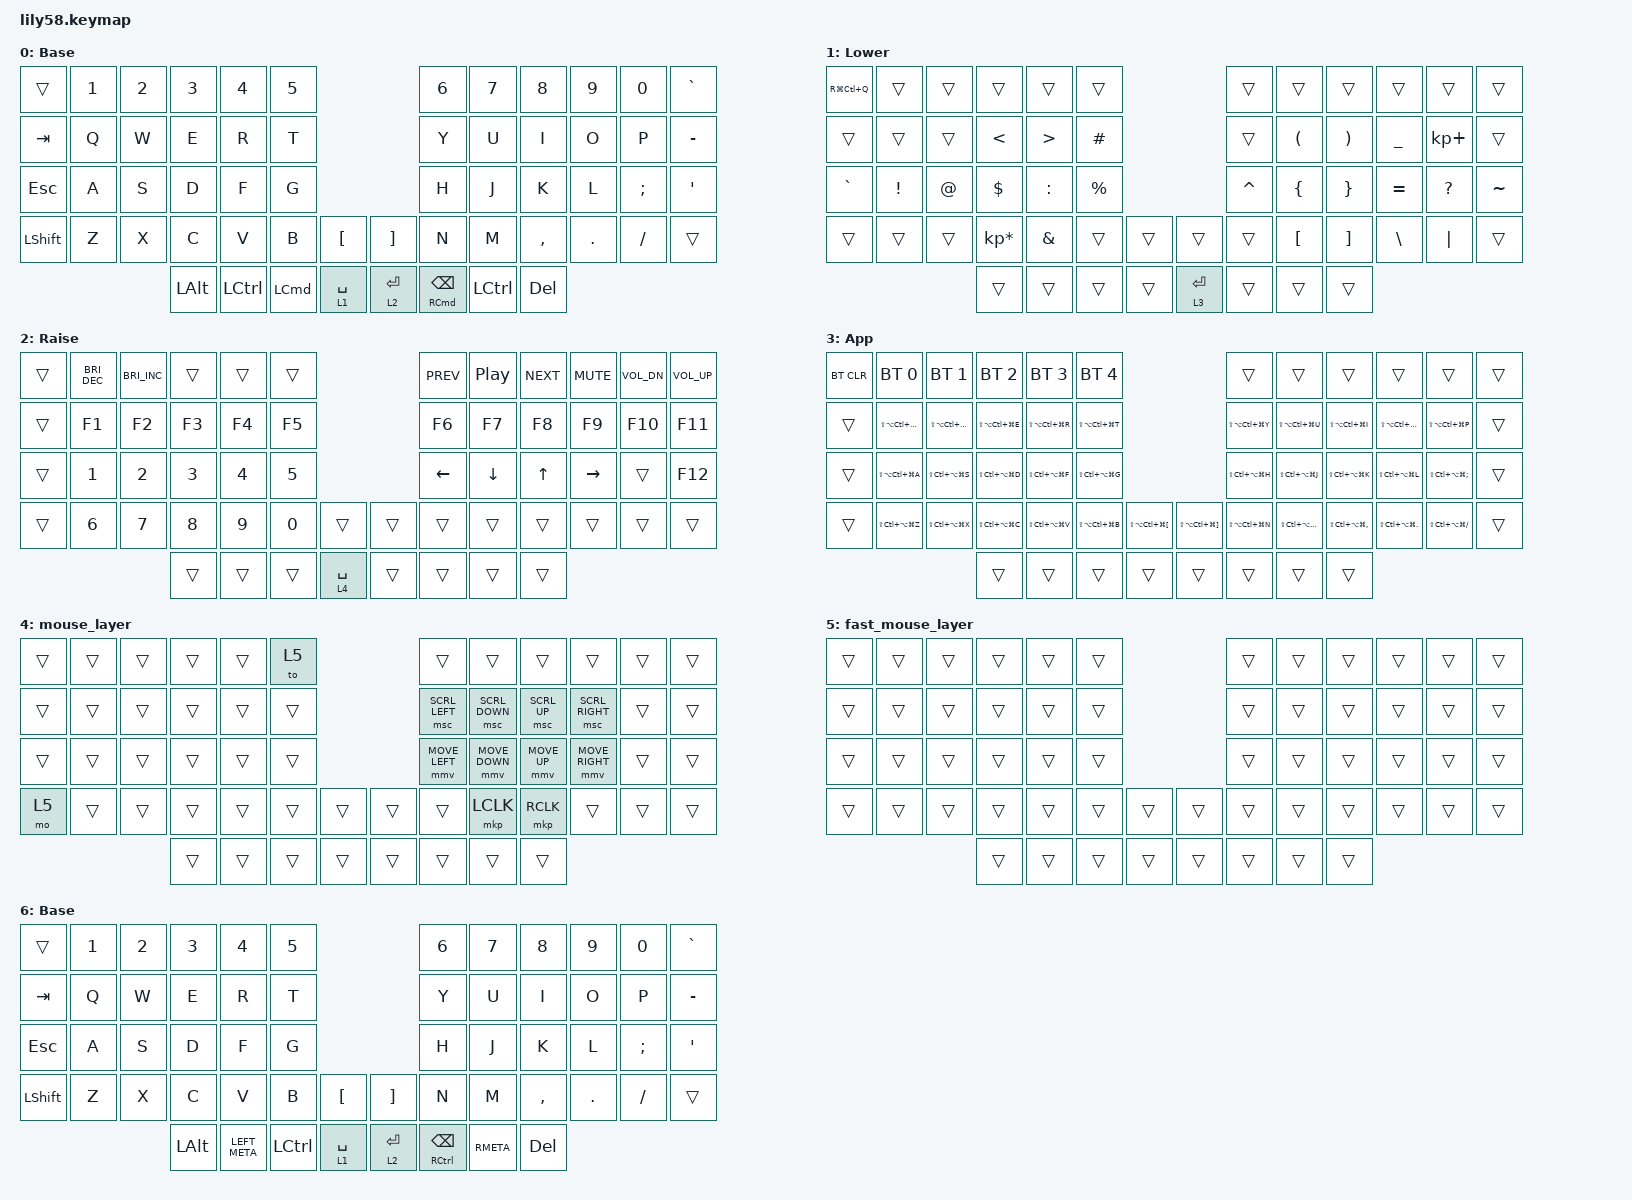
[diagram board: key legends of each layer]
/*
 * Copyright (c) 2020 The ZMK Contributors
 *
 * SPDX-License-Identifier: MIT
 */

#define ZMK_POINTING_DEFAULT_MOVE_VAL 900

#include <behaviors.dtsi>
#include <dt-bindings/zmk/bt.h>
#include <dt-bindings/zmk/keys.h>
#include <dt-bindings/zmk/pointing.h>
#include <input/processors.dtsi>

/ {
    behaviors {
        HMShiftR: HMShiftR {
            compatible = "zmk,behavior-hold-tap";
            label = "HMSHIFTR";
            bindings = <&kp>, <&kp>;

            #binding-cells = <2>;
            tapping-term-ms = <200>;
            hold-while-undecided;
            hold-trigger-key-positions = <53 52 51 50 36 0 1 12 13 14 15 16 17 24 25 26 27 28 29 38 39 40 41 42 2 3 4 5 37>;
            hold-trigger-on-release;
        };

        HMShiftL: HMShiftL {
            compatible = "zmk,behavior-hold-tap";
            label = "HMSHIFTL";
            bindings = <&kp>, <&kp>;

            #binding-cells = <2>;
            tapping-term-ms = <200>;
            hold-while-undecided;
            hold-trigger-on-release;
            hold-trigger-key-positions = <6 7 8 9 10 11 18 19 20 21 22 23 30 31 32 33 34 35 44 45 46 47 48 49 55 56 57 43 54>;
        };

        HMR: HMR {
            compatible = "zmk,behavior-hold-tap";
            label = "HMR";
            bindings = <&kp>, <&kp>;

            #binding-cells = <2>;
            tapping-term-ms = <200>;
            hold-while-undecided;
            hold-trigger-key-positions = <53 52 51 50 36 0 1 12 13 14 15 16 17 24 25 26 27 28 29 38 39 40 41 42 2 3 4 5 37>;
            hold-trigger-on-release;
            flavor = "tap-preferred";
        };

        HML: HML {
            compatible = "zmk,behavior-hold-tap";
            label = "HML";
            bindings = <&kp>, <&kp>;

            #binding-cells = <2>;
            tapping-term-ms = <200>;
            hold-while-undecided;
            hold-trigger-on-release;
            hold-trigger-key-positions = <6 7 8 9 10 11 18 19 20 21 22 23 30 31 32 33 34 35 44 45 46 47 48 49 55 56 57 43 54>;
            flavor = "tap-preferred";
        };

        hold_tap_double: hold_tap_double {
            compatible = "zmk,behavior-hold-tap";
            label = "HOLD_TAP_DOUBLE";
            bindings = <&kp>, <&kp>;

            #binding-cells = <2>;
            tapping-term-ms = <200>;
            quick-tap-ms = <200>;
        };
    };

    keymap {
        compatible = "zmk,keymap";

        default_layer {
            // ------------------------------------------------------------------------------------------------------------
            // |  ESC  |  1  |  2  |  3   |  4   |  5   |                   |  6   |  7    |  8    |  9   |   0   |   `   |
            // |  TAB  |  Q  |  W  |  E   |  R   |  T   |                   |  Y   |  U    |  I    |  O   |   P   |   -   |
            // |  CTRL |  A  |  S  |  D   |  F   |  G   |                   |  H   |  J    |  K    |  L   |   ;   |   '   |
            // | SHIFT |  Z  |  X  |  C   |  V   |  B   |   "["  |  |  "]"  |  N   |  M    |  ,    |  .   |   /   | SHIFT |
            //                     | ALT  | GUI  | LOWER|  SPACE |  | ENTER | RAISE| BSPC  | GUI   |

            display-name = "Base";
            bindings = <
&trans     &kp N1  &kp N2  &kp N3    &kp N4     &kp N5                                &kp N6                           &kp N7     &kp N8     &kp N9   &kp N0    &kp GRAVE
&kp TAB    &kp Q   &kp W   &kp E     &kp R      &kp T                                 &kp Y                            &kp U      &kp I      &kp O    &kp P     &kp MINUS
&kp ESC    &kp A   &kp S   &kp D     &kp F      &kp G                                 &kp H                            &kp J      &kp K      &kp L    &kp SEMI  &kp SQT
&kp LSHFT  &kp Z   &kp X   &kp C     &kp V      &kp B     &kp LBKT       &kp RBKT     &kp N                            &kp M      &kp COMMA  &kp DOT  &kp FSLH  &trans
                           &kp LALT  &kp LCTRL  &kp LCMD  &lt 1 SPACE    &lt 2 ENTER  &hold_tap_double RCMD BACKSPACE  &kp LCTRL  &kp DEL
            >;
        };

        symbol_layer {
            // ------------------------------------------------------------------------------------------------------------
            // | BTCLR | BT1 | BT2 |  BT3 |  BT4 |  BT5 |                   |      |       |       |      |       |       |
            // |  F1   |  F2 |  F3 |  F4  |  F5  |  F6  |                   |  F7  |  F8   |  F9   |  F10 |  F11  |  F12  |
            // |   `   |  !  |  @  |  #   |  $   |  %   |                   |  ^   |  &    |  *    |  (   |   )   |   ~   |
            // |       |     |     |      |      |      |        |  |       |      |  _    |  +    |  {   |   }   |  "|"  |
            //                     |      |      |      |        |  |       |      |       |       |

            display-name = "Lower";
            bindings = <
&kp RG(LC(Q))  &trans    &trans  &trans           &trans     &trans                             &trans     &trans            &trans             &trans         &trans        &trans
&trans         &trans    &trans  &kp LT           &kp GT     &kp HASH                           &trans     &kp LPAR          &kp RPAR           &kp UNDER      &kp KP_PLUS   &trans
&kp GRAVE      &kp EXCL  &kp AT  &kp DOLLAR       &kp COLON  &kp PRCNT                          &kp CARET  &kp LEFT_BRACE    &kp RIGHT_BRACE    &kp EQUAL      &kp QUESTION  &kp TILDE
&trans         &trans    &trans  &kp KP_MULTIPLY  &kp AMPS   &trans     &trans    &trans        &trans     &kp LEFT_BRACKET  &kp RIGHT_BRACKET  &kp BACKSLASH  &kp PIPE      &trans
                                 &trans           &trans     &trans     &trans    &lt 3 RETURN  &trans     &trans            &trans
            >;
        };

        function_layer {
            // ------------------------------------------------------------------------------------------------------------
            // |       |     |     |      |      |      |                   |      |       |       |      |       |       |
            // |   `   |  1  |  2  |  3   |  4   |  5   |                   |  6   |   7   |   8   |  9   |   0   |       |
            // |   F1  |  F2 |  F3 |  F4  |  F5  |  F6  |                   |      |   <-  |   v   |  ^   |  ->   |       |
            // |   F7  |  F8 |  F9 |  F10 |  F11 |  F12 |        |  |       |  +   |   -   |   =   |  [   |   ]   |   \   |
            //                     |      |      |      |        |  |       |      |       |       |

            display-name = "Raise";
            bindings = <
&trans  &kp C_BRIGHTNESS_DEC  &kp C_BRIGHTNESS_INC  &trans  &trans  &trans                         &kp C_PREV  &kp C_PLAY_PAUSE  &kp C_NEXT  &kp C_MUTE  &kp C_VOL_DN  &kp C_VOL_UP
&trans  &kp F1                &kp F2                &kp F3  &kp F4  &kp F5                         &kp F6      &kp F7            &kp F8      &kp F9      &kp F10       &kp F11
&trans  &kp N1                &kp N2                &kp N3  &kp N4  &kp N5                         &kp LEFT    &kp DOWN          &kp UP      &kp RIGHT   &trans        &kp F12
&trans  &kp N6                &kp N7                &kp N8  &kp N9  &kp N0  &trans         &trans  &trans      &trans            &trans      &trans      &trans        &trans
                                                    &trans  &trans  &trans  &lt 4 SPACE    &trans  &trans      &trans            &trans
            >;
        };

        app_layer {
            bindings = <
&bt BT_CLR  &bt BT_SEL 0           &bt BT_SEL 1           &bt BT_SEL 2           &bt BT_SEL 3           &bt BT_SEL 4                                                                                  &trans                 &trans                 &trans                     &trans                      &trans                         &trans
&trans      &kp LS(LA(LC(LG(Q))))  &kp LS(LA(LC(LG(W))))  &kp LS(LA(LC(LG(E))))  &kp LS(LA(LC(LG(R))))  &kp LS(LA(LC(LG(T))))                                                                         &kp LS(LA(LC(LG(Y))))  &kp LS(LA(LC(LG(U))))  &kp LS(LA(LC(LG(I))))      &kp LS(LA(LC(LG(O))))       &kp LS(LA(LC(LG(P))))          &trans
&trans      &kp LS(LA(LC(LG(A))))  &kp LS(LC(LA(LG(S))))  &kp LS(LC(LA(LG(D))))  &kp LS(LC(LA(LG(F))))  &kp LS(LC(LA(LG(G))))                                                                         &kp LS(LC(LA(LG(H))))  &kp LS(LC(LA(LG(J))))  &kp LS(LC(LA(LG(K))))      &kp LS(LC(LA(LG(L))))       &kp LS(LC(LA(LG(SEMICOLON))))  &trans
&trans      &kp LS(LC(LA(LG(Z))))  &kp LS(LC(LA(LG(X))))  &kp LS(LC(LA(LG(C))))  &kp LS(LC(LA(LG(V))))  &kp LS(LA(LC(LG(B))))  &kp LS(LA(LC(LG(LEFT_BRACKET))))    &kp LS(LA(LC(LG(RIGHT_BRACKET))))  &kp LS(LA(LC(LG(N))))  &kp LS(LC(LA(LG(M))))  &kp LS(LC(LA(LG(COMMA))))  &kp LS(LC(LA(LG(PERIOD))))  &kp LS(LC(LA(LG(SLASH))))      &trans
                                                          &trans                 &trans                 &trans                 &trans                              &trans                             &trans                 &trans                 &trans
            >;

            label = "App";
        };

        mouse_layer {
            bindings = <
&trans  &trans  &trans  &trans  &trans  &to 5                     &trans          &trans          &trans        &trans           &trans  &trans
&trans  &trans  &trans  &trans  &trans  &trans                    &msc SCRL_LEFT  &msc SCRL_DOWN  &msc SCRL_UP  &msc SCRL_RIGHT  &trans  &trans
&trans  &trans  &trans  &trans  &trans  &trans                    &mmv MOVE_LEFT  &mmv MOVE_DOWN  &mmv MOVE_UP  &mmv MOVE_RIGHT  &trans  &trans
&mo 5   &trans  &trans  &trans  &trans  &trans  &trans    &trans  &trans          &mkp LCLK       &mkp RCLK     &trans           &trans  &trans
                        &trans  &trans  &trans  &trans    &trans  &trans          &trans          &trans
            >;
        };

        fast_mouse_layer {
            bindings = <
&trans  &trans  &trans  &trans  &trans  &trans                    &trans  &trans  &trans  &trans  &trans  &trans
&trans  &trans  &trans  &trans  &trans  &trans                    &trans  &trans  &trans  &trans  &trans  &trans
&trans  &trans  &trans  &trans  &trans  &trans                    &trans  &trans  &trans  &trans  &trans  &trans
&trans  &trans  &trans  &trans  &trans  &trans  &trans    &trans  &trans  &trans  &trans  &trans  &trans  &trans
                        &trans  &trans  &trans  &trans    &trans  &trans  &trans  &trans
            >;
        };

        Linux {
            display-name = "Base";
            bindings = <
&trans     &kp N1  &kp N2  &kp N3    &kp N4         &kp N5                                 &kp N6                            &kp N7     &kp N8     &kp N9   &kp N0    &kp GRAVE
&kp TAB    &kp Q   &kp W   &kp E     &kp R          &kp T                                  &kp Y                             &kp U      &kp I      &kp O    &kp P     &kp MINUS
&kp ESC    &kp A   &kp S   &kp D     &kp F          &kp G                                  &kp H                             &kp J      &kp K      &kp L    &kp SEMI  &kp SQT
&kp LSHFT  &kp Z   &kp X   &kp C     &kp V          &kp B      &kp LBKT       &kp RBKT     &kp N                             &kp M      &kp COMMA  &kp DOT  &kp FSLH  &trans
                           &kp LALT  &kp LEFT_META  &kp LCTRL  &lt 1 SPACE    &lt 2 ENTER  &hold_tap_double RCTRL BACKSPACE  &kp RMETA  &kp DEL
            >;
        };
    };
};

&mmv_input_listener {
    fast_mouse {
        layers = <5>;                              // index of your new layer
        input-processors = <&zip_xy_scaler 4 1>;   // 4x speed (multiply 4, divide 1)
    };
};
